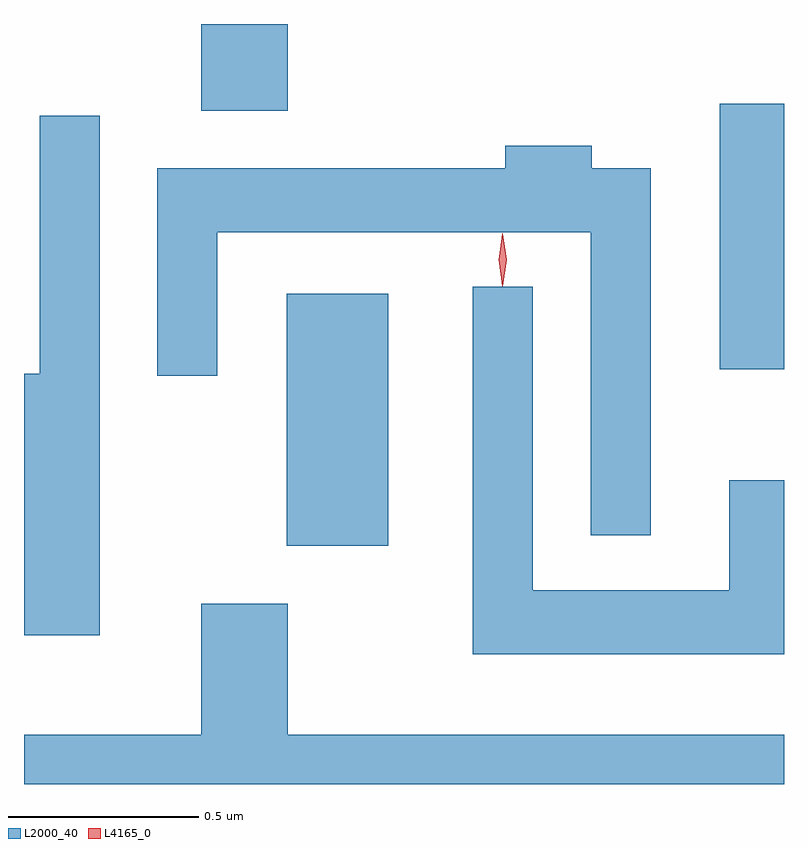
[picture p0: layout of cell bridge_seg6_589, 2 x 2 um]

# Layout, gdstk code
import gdstk
lib = gdstk.Library(unit=1e-6, precision=1e-09)
def R(c, l, rs):  # rectangles x0, y0, x1, y1
    for r in rs: c.add(gdstk.rectangle(r[:2], r[2:], *l))
def P(c, l, *ps):  # polygons
    for p in ps: c.add(gdstk.Polygon(p, *l))
L2000_40 = (2000, 40)
L4165_0 = (4165, 0)

bridge_seg6_589 = lib.new_cell('bridge_seg6_589')
R(bridge_seg6_589, L2000_40, [(500.906,1648.481,501.174,1649.144), (502.046,1648.946,502.215,1649.644), (500.681,1649.626,500.909,1649.854)])
P(bridge_seg6_589, L2000_40, [(500.414,1649.613),(500.256,1649.613),(500.256,1648.934),(500.215,1648.934),(500.215,1648.246),(500.414,1648.246)],
  [(501.864,1649.474),(501.709,1649.474),(501.709,1649.534),(501.481,1649.534),(501.481,1649.474),(500.566,1649.474),(500.566,1648.928),(500.724,1648.928),(500.724,1649.306),(501.706,1649.306),(501.706,1648.508),(501.864,1648.508)],
  [(502.215,1648.654),(502.071,1648.654),(502.071,1648.364),(501.554,1648.364),(501.554,1649.163),(501.396,1649.163),(501.396,1648.196),(502.215,1648.196)],
  [(502.215,1647.984),(500.909,1647.984),(500.909,1648.329),(500.681,1648.329),(500.681,1647.984),(500.215,1647.984),(500.215,1647.854),(502.215,1647.854)])
P(bridge_seg6_589, L4165_0, [(501.474,1649.164),(501.465,1649.233),(501.474,1649.302),(501.475,1649.303),(501.475,1649.302),(501.485,1649.233),(501.475,1649.164),(501.475,1649.164)],
  [(501.474,1649.167),(501.474,1649.167),(501.464,1649.234),(501.474,1649.3),(501.474,1649.3),(501.475,1649.3),(501.484,1649.234),(501.475,1649.167)])

lib.write_gds('bridge_seg6_589.gds')
